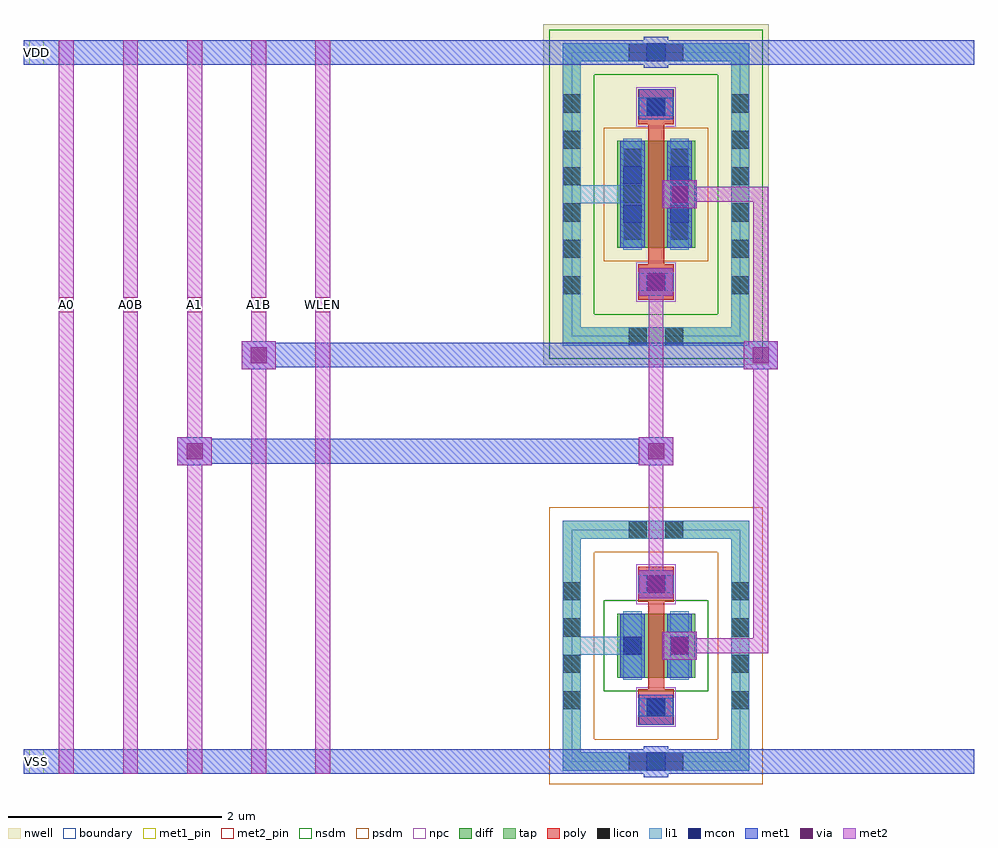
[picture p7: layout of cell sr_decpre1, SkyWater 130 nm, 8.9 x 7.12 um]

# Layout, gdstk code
from math import pi, radians
import gdstk
lib = gdstk.Library(unit=1e-6, precision=1e-09)
def R(c, l, rs):  # rectangles x0, y0, x1, y1
    for r in rs: c.add(gdstk.rectangle(r[:2], r[2:], *l))
def A(c, l, x, y, w, h, nx, ny, dx, dy):  # array of equal rectangles
    R(c, l, [(x+i*dx, y+j*dy, x+i*dx+w, y+j*dy+h) for i in range(nx) for j in range(ny)])
nwell = (64, 20)
diff = (65, 20)
tap = (65, 44)
poly = (66, 20)
licon = (66, 44)
li1 = (67, 20)
mcon = (67, 44)
met1_pin = (68, 16)
met1 = (68, 20)
via = (68, 44)
met2_pin = (69, 16)
met2 = (69, 20)
nsdm = (93, 44)
psdm = (94, 20)
npc = (95, 20)
boundary = (235, 4)

sky130_fd_pr__pfet_01v8_ = lib.new_cell('sky130_fd_pr__pfet_01v8_7HN6Y2')
R(sky130_fd_pr__pfet_01v8_, nwell, [(-1.055,-1.595,1.055,1.595)])
R(sky130_fd_pr__pfet_01v8_, diff, [(-0.365,-0.5,0.365,0.5)])
R(sky130_fd_pr__pfet_01v8_, tap, [(-0.875,-1.415,0.875,-1.245), (-0.875,-1.245,-0.705,1.245), (0.705,-1.245,0.875,1.245), (-0.875,1.245,0.875,1.415)])
R(sky130_fd_pr__pfet_01v8_, poly, [(-0.165,-0.985,0.165,-0.655), (-0.075,-0.655,0.075,0.655), (-0.165,0.655,0.165,0.985)])
A(sky130_fd_pr__pfet_01v8_, licon, -0.875, -0.935, 0.17, 0.17, 1, 6, 0, 0.34)
A(sky130_fd_pr__pfet_01v8_, licon, 0.705, -0.935, 0.17, 0.17, 1, 6, 0, 0.34)
A(sky130_fd_pr__pfet_01v8_, licon, -0.305, -0.425, 0.17, 0.17, 1, 3, 0, 0.34)
A(sky130_fd_pr__pfet_01v8_, licon, 0.135, -0.425, 0.17, 0.17, 1, 3, 0, 0.34)
R(sky130_fd_pr__pfet_01v8_, licon, [(-0.255,-1.415,-0.085,-1.245), (0.085,-1.415,0.255,-1.245), (-0.085,-0.905,0.085,-0.735), (-0.085,0.735,0.085,0.905), (-0.255,1.245,-0.085,1.415), (0.085,1.245,0.255,1.415)])
R(sky130_fd_pr__pfet_01v8_, li1, [(-0.875,-1.415,0.875,-1.245), (-0.875,-1.245,-0.705,1.245), (0.705,-1.245,0.875,1.245), (-0.165,-0.905,0.165,-0.735), (-0.305,-0.52,-0.135,0.52), (0.135,-0.52,0.305,0.52), (-0.165,0.735,0.165,0.905), (-0.875,1.245,0.875,1.415)])
R(sky130_fd_pr__pfet_01v8_, mcon, [(-0.085,-0.905,0.085,-0.735), (-0.305,-0.265,-0.135,-0.095), (0.135,-0.265,0.305,-0.095), (-0.305,0.095,-0.135,0.265), (0.135,0.095,0.305,0.265), (-0.085,0.735,0.085,0.905)])
R(sky130_fd_pr__pfet_01v8_, met1, [(-0.145,-0.935,0.145,-0.705), (-0.335,-0.5,-0.105,0.5), (0.105,-0.5,0.335,0.5), (-0.145,0.705,0.145,0.935)])
R(sky130_fd_pr__pfet_01v8_, nsdm, [(-1,-1.54,1,-1.12), (-1,-1.12,-0.58,1.12), (0.58,-1.12,1,1.12), (-1,1.12,1,1.54)])
R(sky130_fd_pr__pfet_01v8_, psdm, [(-0.49,-0.625,0.49,0.625)])
R(sky130_fd_pr__pfet_01v8_, npc, [(-0.185,-1.005,0.185,-0.635), (-0.185,0.635,0.185,1.005)])
R(sky130_fd_pr__pfet_01v8_, boundary, [(-0.79,-1.33,0.79,1.33)])
sky130_fd_pr__pfet_01v8_.add(gdstk.Label('B', (0,-1.33), layer=67, texttype=5))
sky130_fd_pr__pfet_01v8_.add(gdstk.Label('D', (-0.22,0), layer=67, texttype=5))
sky130_fd_pr__pfet_01v8_.add(gdstk.Label('S', (0.22,0), layer=67, texttype=5))
sky130_fd_pr__pfet_01v8_.add(gdstk.Label('G', (0,0.82), layer=67, texttype=5))

sky130_fd_pr__nfet_01v8_ = lib.new_cell('sky130_fd_pr__nfet_01v8_8NZ58T')
R(sky130_fd_pr__nfet_01v8_, diff, [(-0.365,-0.3,0.365,0.3)])
R(sky130_fd_pr__nfet_01v8_, tap, [(-0.875,-1.17,0.875,-1), (-0.875,-1,-0.705,1), (0.705,-1,0.875,1), (-0.875,1,0.875,1.17)])
R(sky130_fd_pr__nfet_01v8_, poly, [(-0.165,-0.74,0.165,-0.41), (-0.075,-0.41,0.075,0.41), (-0.165,0.41,0.165,0.74)])
A(sky130_fd_pr__nfet_01v8_, licon, -0.875, -0.595, 0.17, 0.17, 1, 4, 0, 0.34)
A(sky130_fd_pr__nfet_01v8_, licon, 0.705, -0.595, 0.17, 0.17, 1, 4, 0, 0.34)
R(sky130_fd_pr__nfet_01v8_, licon, [(-0.255,-1.17,-0.085,-1), (0.085,-1.17,0.255,-1), (-0.085,-0.66,0.085,-0.49), (-0.305,-0.085,-0.135,0.085), (0.135,-0.085,0.305,0.085), (-0.085,0.49,0.085,0.66), (-0.255,1,-0.085,1.17), (0.085,1,0.255,1.17)])
R(sky130_fd_pr__nfet_01v8_, li1, [(-0.875,-1.17,0.875,-1), (-0.875,-1,-0.705,1), (0.705,-1,0.875,1), (-0.165,-0.66,0.165,-0.49), (-0.305,-0.32,-0.135,0.32), (0.135,-0.32,0.305,0.32), (-0.165,0.49,0.165,0.66), (-0.875,1,0.875,1.17)])
R(sky130_fd_pr__nfet_01v8_, mcon, [(-0.085,-0.66,0.085,-0.49), (-0.305,-0.085,-0.135,0.085), (0.135,-0.085,0.305,0.085), (-0.085,0.49,0.085,0.66)])
R(sky130_fd_pr__nfet_01v8_, met1, [(-0.145,-0.69,0.145,-0.46), (-0.335,-0.3,-0.105,0.3), (0.105,-0.3,0.335,0.3), (-0.145,0.46,0.145,0.69)])
R(sky130_fd_pr__nfet_01v8_, nsdm, [(-0.49,-0.425,0.49,0.425)])
R(sky130_fd_pr__nfet_01v8_, psdm, [(-1,-1.295,1,-0.875), (-1,-0.875,-0.58,0.875), (0.58,-0.875,1,0.875), (-1,0.875,1,1.295)])
R(sky130_fd_pr__nfet_01v8_, npc, [(-0.185,-0.76,0.185,-0.39), (-0.185,0.39,0.185,0.76)])
R(sky130_fd_pr__nfet_01v8_, boundary, [(-0.79,-1.085,0.79,1.085)])
sky130_fd_pr__nfet_01v8_.add(gdstk.Label('B', (0,-1.085), layer=67, texttype=5))
sky130_fd_pr__nfet_01v8_.add(gdstk.Label('D', (-0.22,0), layer=67, texttype=5))
sky130_fd_pr__nfet_01v8_.add(gdstk.Label('S', (0.22,0), layer=67, texttype=5))
sky130_fd_pr__nfet_01v8_.add(gdstk.Label('G', (0,0.575), layer=67, texttype=5))

sr_decpre1 = lib.new_cell('sr_decpre1')
R(sr_decpre1, li1, [(1.935,-1.29,2.105,-1.12), (1.245,-0.205,1.8,-0.035), (1.245,4.02,1.8,4.19), (1.935,5.35,2.105,5.52)])
R(sr_decpre1, mcon, [(1.935,-1.29,2.105,-1.12), (1.935,5.35,2.105,5.52)])
R(sr_decpre1, met1_pin, [(-3.85,-1.32,-3.71,-1.09), (-3.85,5.32,-3.71,5.55)])
R(sr_decpre1, met1, [(1.905,-1.35,2.135,-1.32), (-3.9,-1.32,5,-1.09), (1.905,-1.09,2.135,-1.06), (1.86,-0.86,2.18,-0.58), (2.08,-0.25,2.4,0.01), (1.86,0.325,2.18,0.585), (-2.46,1.57,-2.14,1.585), (1.86,1.57,2.18,1.585), (-2.46,1.585,2.18,1.815), (-2.46,1.815,-2.14,1.83), (1.86,1.815,2.18,1.83), (-1.86,2.47,-1.54,2.485), (2.84,2.47,3.16,2.485), (-1.86,2.485,3.16,2.715), (-1.86,2.715,-1.54,2.73), (2.84,2.715,3.16,2.73), (1.86,3.155,2.18,3.415), (2.08,3.975,2.4,4.235), (1.86,4.81,2.18,5.09), (1.905,5.29,2.135,5.32), (-3.9,5.32,5,5.55), (1.905,5.55,2.135,5.58)])
R(sr_decpre1, via, [(2.165,-0.195,2.315,-0.045), (1.945,0.38,2.095,0.53), (-2.375,1.625,-2.225,1.775), (1.945,1.625,2.095,1.775), (-1.775,2.525,-1.625,2.675), (2.925,2.525,3.075,2.675), (1.945,3.21,2.095,3.36), (2.165,4.03,2.315,4.18)])
A(sr_decpre1, met2_pin, -3.57, 3, 0.14, 0.14, 5, 1, 0.6, 0)
R(sr_decpre1, met2, [(-3.57,-1.32,-3.43,5.55), (-2.97,-1.32,-2.83,5.55), (-2.37,-1.32,-2.23,1.57), (-1.77,-1.32,-1.63,2.47), (-1.17,-1.32,-1.03,5.55), (2.08,-0.25,2.4,-0.19), (2.08,-0.19,3.07,-0.05), (2.08,-0.05,2.4,0.01), (2.93,-0.05,3.07,2.47), (1.86,0.325,2.18,0.585), (1.95,0.585,2.09,1.57), (-2.46,1.57,-2.14,1.83), (1.86,1.57,2.18,1.83), (-2.37,1.83,-2.23,5.55), (1.95,1.83,2.09,3.155), (-1.86,2.47,-1.54,2.73), (2.84,2.47,3.16,2.73), (-1.77,2.73,-1.63,5.55), (2.93,2.73,3.07,4.035), (1.86,3.155,2.18,3.415), (2.08,3.975,2.4,4.035), (2.08,4.035,3.07,4.175), (2.08,4.175,2.4,4.235)])
sr_decpre1.add(gdstk.Reference(sky130_fd_pr__pfet_01v8_, (2.02,4.105), rotation=pi, x_reflection=True))
sr_decpre1.add(gdstk.Reference(sky130_fd_pr__nfet_01v8_, (2.02,-0.12), rotation=pi, x_reflection=True))
sr_decpre1.add(gdstk.Label('A0', (-3.5,3.07), layer=69, texttype=5))
sr_decpre1.add(gdstk.Label('A0B', (-2.9,3.07), layer=69, texttype=5))
sr_decpre1.add(gdstk.Label('A1', (-2.3,3.07), layer=69, texttype=5))
sr_decpre1.add(gdstk.Label('A1B', (-1.7,3.07), layer=69, texttype=5))
sr_decpre1.add(gdstk.Label('WLEN', (-1.1,3.07), layer=69, texttype=5))
sr_decpre1.add(gdstk.Label('VDD', (-3.78,5.435), layer=68, texttype=5))
sr_decpre1.add(gdstk.Label('VSS', (-3.78,-1.205), layer=68, texttype=5))

lib.write_gds('sr_decpre1.gds')
